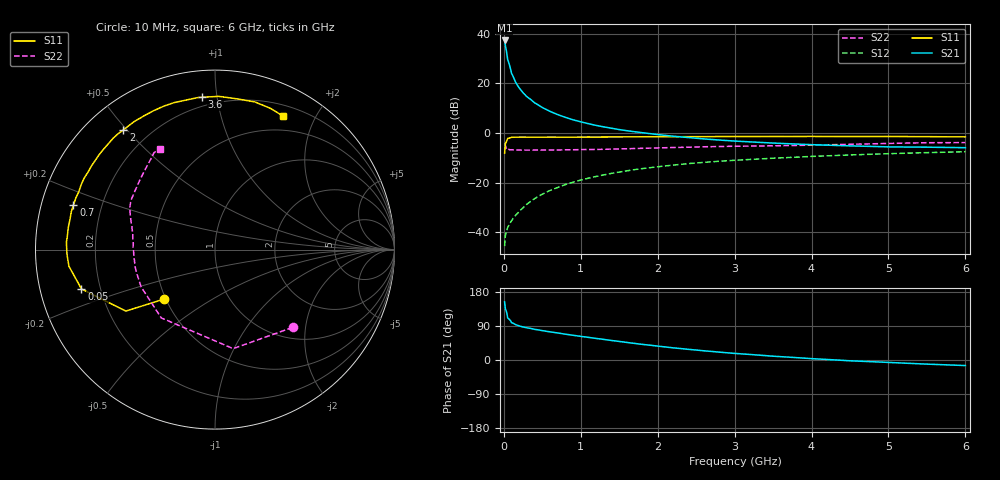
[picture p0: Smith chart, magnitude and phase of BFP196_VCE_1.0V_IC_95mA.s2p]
! Infineon Technologies  Discrete & RF Semiconductors
! BFP196
! VCE =  1.0 V,  IC =  95 mA
! Common Emitter S-Parameters:  Jan 2017
# GHz  S  MA  R  50
!  f  S11  S21  S12  S22
! GHz  MAG  ANG  MAG  ANG  MAG  ANG  MAG  ANG
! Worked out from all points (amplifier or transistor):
!   77 points, 10 MHz to 6 GHz, reference 50 ohm
!   highest |S21| = 37.2 dB at 10 MHz (marker M1)
!   |S21| within 3 dB of that: start of sweep to 26.08 MHz
!   unconditionally stable (mu >= 1): 207.2 MHz to end of sweep
!   at 130 MHz: K = 0.86, MSG = 28.0 dB, |S12| = -34.0 dB
!   at 2.2 GHz: K = 1.05, MAG = 4.5 dB, |S12| = -12.9 dB
!   at 6 GHz: K = 1.03, MAG = -0.3 dB, |S12| = -7.5 dB
!   S11 on the Smith chart (normalised r, x): 10 MHz: 0.49, -0.32; 50 MHz: 0.13, -0.14; 700 MHz: 0.10, +0.15; 2 GHz: 0.11, +0.49; 3.6 GHz: 0.15, +0.91; 6 GHz: 0.32, +1.58
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0.01  0.3939 -135.7  72.61 153.5  0.0053 66.7  0.6127 -45.0
0.02  0.6031 -145.4  57.67 135.2  0.0087 56.9  0.5609 -79.6
0.05  0.7758 -163.6  30.03 110.8  0.0126 45.8  0.4842 -128.2
0.1  0.8192 -173.5  15.87 98.6  0.0172 53.4  0.4609 -153.2
0.15  0.8247 -177.9  10.69 93.6  0.0219 59.5  0.4558 -162.7
0.2  0.8267 179.3  8.042 89.9  0.0265 64.1  0.4552 -168.0
0.25  0.8289 177.0  6.436 87.1  0.0315 65.6  0.4531 -171.2
0.3  0.8261 175.0  5.372 85.0  0.0371 67.6  0.4529 -174.0
0.4  0.8268 171.5  4.052 80.9  0.0479 68.9  0.4535 -177.3
0.5  0.8253 168.3  3.248 77.5  0.0589 69.4  0.4539 -179.9
0.6  0.828 165.3  2.725 74.3  0.0699 68.7  0.4567 177.9
0.7  0.8266 162.6  2.346 71.4  0.0804 68.9  0.4563 175.9
0.9  0.8246 156.9  1.843 65.3  0.1025 66.2  0.4606 173.0
1.1  0.8307 151.4  1.539 59.7  0.1235 63.6  0.4653 170.0
1.5  0.8345 140.7  1.172 49.0  0.1636 57.6  0.4792 164.9
2  0.8399 127.5  0.93 36.6  0.2095 49.5  0.5006 159.8
2.1  0.8409 124.9  0.895 34.4  0.2177 47.9  0.5056 158.7
3.1  0.8488 103.7  0.676 16.0  0.2882 32.9  0.5441 148.6
3.6  0.8516 94.8  0.618 8.8  0.3162 26.4  0.5558 142.5
4.1  0.8519 87.1  0.576 2.5  0.3423 20.1  0.5741 136.0
5.1  0.85 73.6  0.524 -7.3  0.3874 8.2  0.621 124.9
6  0.8352 63.1  0.507 -14.7  0.4206 -1.7  0.6409 118.7
